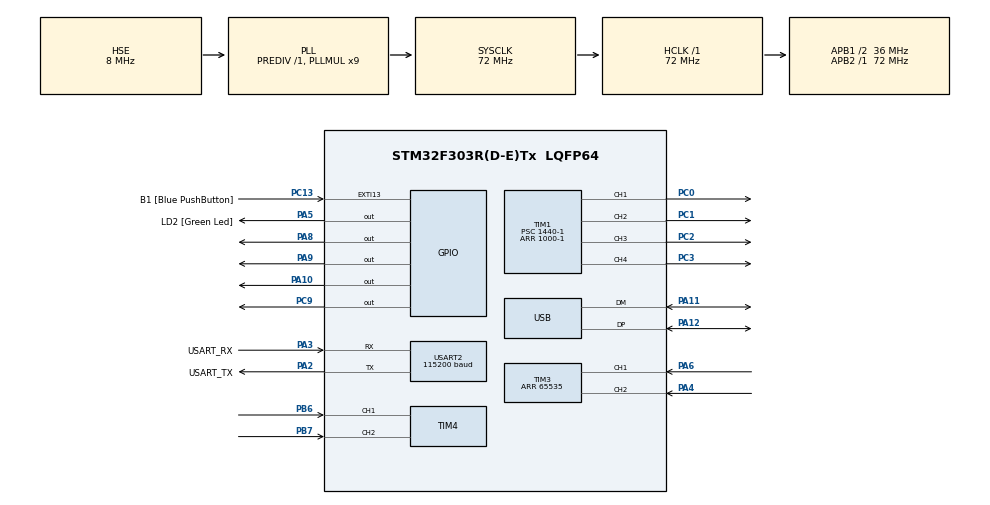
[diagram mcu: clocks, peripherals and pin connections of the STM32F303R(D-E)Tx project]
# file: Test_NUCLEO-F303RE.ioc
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FREERTOS.Events01=debugEvent,Dynamic,NULL;usbEvent,Dynamic,NULL
FREERTOS.HEAP_NUMBER=4
FREERTOS.Queues01=GoalPositionQueue,16,poseStruct,0,Dynamic,NULL,NULL;GoalSpeedQueue,16,velocityStruct,0,Dynamic,NULL,NULL;OdometryQueue,16,poseStruct,0,Dynamic,NULL,NULL
FREERTOS.Tasks01=BrainComTask,32,128,StartBrainComTask,Default,NULL,Dynamic,NULL,NULL;DebugComTask,8,128,StartDebugComTask,Default,NULL,Dynamic,NULL,NULL;UsbComTask,24,128,StartUsbComTask,Default,NULL,Dynamic,NULL,NULL
FREERTOS.Timers01=EncoderTask,EncoderTaskCallback,osTimerPeriodic,Default,NULL,Dynamic,NULL;MotorTask,MotorTaskCallback,osTimerPeriodic,Default,NULL,Dynamic,NULL
FREERTOS.configGENERATE_RUN_TIME_STATS=1
FREERTOS.configRECORD_STACK_HIGH_ADDRESS=1
FREERTOS.configTOTAL_HEAP_SIZE=8192
FREERTOS.configUSE_MALLOC_FAILED_HOOK=1
FREERTOS.configUSE_NEWLIB_REENTRANT=1
FREERTOS.configUSE_STATS_FORMATTING_FUNCTIONS=1
Mcu.Family=STM32F3
Mcu.Name=STM32F303R(D-E)Tx
Mcu.Package=LQFP64
NVIC.PriorityGroup=NVIC_PRIORITYGROUP_4
NVIC.TIM6_DAC_IRQn=true\:15\:0\:true\:false\:true\:false\:false\:true\:true
NVIC.TimeBase=TIM6_DAC_IRQn
NVIC.TimeBaseIP=TIM6
NVIC.USART2_IRQn=true\:5\:0\:false\:false\:true\:true\:true\:true\:true
NVIC.USB_LP_CAN_RX0_IRQn=true\:5\:0\:false\:false\:true\:true\:false\:true\:true
PA10.Signal=GPIO_Output
PA11.Mode=Device
PA11.Signal=USB_DM
PA12.Mode=Device
PA12.Signal=USB_DP
PA13.GPIO_Label=TMS
PA13.Signal=SYS_JTMS-SWDIO
PA14.GPIO_Label=TCK
PA14.Signal=SYS_JTCK-SWCLK
PA2.GPIO_Label=USART_TX
PA2.GPIO_Mode=GPIO_MODE_AF_PP
PA2.GPIO_PuPd=GPIO_NOPULL
PA2.GPIO_Speed=GPIO_SPEED_FREQ_LOW
PA2.Mode=Asynchronous
PA2.Signal=USART2_TX
PA3.GPIO_Label=USART_RX
PA3.GPIO_Mode=GPIO_MODE_AF_PP
PA3.GPIO_PuPd=GPIO_NOPULL
PA3.GPIO_Speed=GPIO_SPEED_FREQ_LOW
PA3.Mode=Asynchronous
PA3.Signal=USART2_RX
PA4.GPIO_PuPd=GPIO_PULLUP
PA4.Signal=S_TIM3_CH2
PA5.GPIO_Label=LD2 [Green Led]
PA5.GPIO_Mode=GPIO_MODE_OUTPUT_PP
PA5.GPIO_PuPd=GPIO_NOPULL
PA5.GPIO_Speed=GPIO_SPEED_FREQ_LOW
PA5.Signal=GPIO_Output
PA6.GPIO_PuPd=GPIO_PULLUP
PA6.Signal=S_TIM3_CH1
PA8.Signal=GPIO_Output
PA9.Signal=GPIO_Output
PB3.GPIO_Label=SWO
PB3.Signal=SYS_JTDO-TRACESWO
PB6.GPIO_PuPd=GPIO_PULLUP
PB6.Signal=S_TIM4_CH1
PB7.GPIO_PuPd=GPIO_PULLUP
PB7.Signal=S_TIM4_CH2
PC0.Signal=S_TIM1_CH1
PC1.Signal=S_TIM1_CH2
PC13.GPIO_Label=B1 [Blue PushButton]
PC13.GPIO_ModeDefaultEXTI=GPIO_MODE_IT_FALLING
PC13.Signal=GPXTI13
PC14-OSC32_IN.Mode=LSE-External-Oscillator
PC14-OSC32_IN.Signal=RCC_OSC32_IN
PC15-OSC32_OUT.Mode=LSE-External-Oscillator
PC15-OSC32_OUT.Signal=RCC_OSC32_OUT
PC2.Signal=S_TIM1_CH3
PC3.Signal=S_TIM1_CH4
PC9.Signal=GPIO_Output
PF0-OSC_IN.Mode=HSE-External-Clock-Source
PF0-OSC_IN.Signal=RCC_OSC_IN
PF1-OSC_OUT.Signal=RCC_OSC_OUT
ProjectManager.HeapSize=0x400
ProjectManager.StackSize=0x600
ProjectManager.TargetToolchain=STM32CubeIDE
RCC.AHBFreq_Value=72000000
RCC.APB1CLKDivider=RCC_HCLK_DIV2
RCC.APB1Freq_Value=36000000
RCC.APB1TimFreq_Value=72000000
RCC.APB2Freq_Value=72000000
RCC.APB2TimFreq_Value=72000000
RCC.CortexFreq_Value=72000000
RCC.HCLKFreq_Value=72000000
RCC.HSE_VALUE=8000000
RCC.HSI_VALUE=8000000
RCC.PLLM=8
RCC.PLLMUL=RCC_PLL_MUL9
RCC.PLLN=336
RCC.PLLP=RCC_PLLP_DIV4
RCC.PLLQ=7
RCC.PRESCALERUSB=RCC_USBCLKSOURCE_PLL_DIV1_5
RCC.RCC_PLLsource_Clock_Source_FROM_HSE=RCC_HSE_PREDIV_DIV2
RCC.SYSCLKFreq_VALUE=72000000
RCC.SYSCLKSourceVirtual=RCC_SYSCLKSOURCE_PLLCLK
RCC.USBFreq_Value=48000000
RCC.Usart1ClockSelection=RCC_USART1CLKSOURCE_HSI
RCC.Usart2ClockSelection=RCC_USART2CLKSOURCE_HSI
SH.S_TIM1_CH1.0=TIM1_CH1,PWM Generation1 CH1
SH.S_TIM1_CH2.0=TIM1_CH2,PWM Generation2 CH2
SH.S_TIM1_CH3.0=TIM1_CH3,PWM Generation3 CH3
SH.S_TIM1_CH4.0=TIM1_CH4,PWM Generation4 CH4
SH.S_TIM3_CH1.0=TIM3_CH1,Encoder_Interface
SH.S_TIM3_CH2.0=TIM3_CH2,Encoder_Interface
SH.S_TIM4_CH1.0=TIM4_CH1,Encoder_Interface
SH.S_TIM4_CH2.0=TIM4_CH2,Encoder_Interface
TIM1.Channel-PWM\ Generation1\ CH1=TIM_CHANNEL_1
TIM1.Channel-PWM\ Generation2\ CH2=TIM_CHANNEL_2
TIM1.Channel-PWM\ Generation3\ CH3=TIM_CHANNEL_3
TIM1.Channel-PWM\ Generation4\ CH4=TIM_CHANNEL_4
TIM1.OCMode_PWM-PWM\ Generation3\ CH3=TIM_OCMODE_PWM1
TIM1.Period=1000-1
TIM1.Prescaler=1440-1
TIM3.EncoderMode=TIM_ENCODERMODE_TI12
TIM3.IC1Filter=5
TIM3.IC2Filter=5
TIM3.Period=65535
TIM4.EncoderMode=TIM_ENCODERMODE_TI12
TIM4.IC1Filter=5
TIM4.IC2Filter=5
USART2.BaudRate=115200
USART2.VirtualMode-Asynchronous=VM_ASYNC
USB_DEVICE.CLASS_NAME_FS=CDC
USB_DEVICE.VirtualMode=Cdc
USB_DEVICE.VirtualModeFS=Cdc_FS
VP_FREERTOS_VS_CMSIS_V2.Mode=CMSIS_V2
VP_SYS_VS_tim6.Mode=TIM6
VP_TIM1_VS_ClockSourceINT.Mode=Internal
VP_USB_DEVICE_VS_USB_DEVICE_CDC_FS.Mode=CDC_FS
board=NUCLEO-F303RE

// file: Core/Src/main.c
/* USER CODE BEGIN Header */
/**
 ******************************************************************************
 * @file           : main.c
 * @brief          : Main program body
 ******************************************************************************
 * @attention
 *
 * Copyright (c) 2025 STMicroelectronics.
 * All rights reserved.
 *
 * This software is licensed under terms that can be found in the LICENSE file
 * in the root directory of this software component.
 * If no LICENSE file comes with this software, it is provided AS-IS.
 *
 ******************************************************************************
 */
/* USER CODE END Header */
#include "main.h"
#include "cmsis_os.h"
#include "usb_device.h"

TIM_HandleTypeDef htim1;
TIM_HandleTypeDef htim3;
TIM_HandleTypeDef htim4;

UART_HandleTypeDef huart2;

/* Definitions for BrainComTask */
osThreadId_t BrainComTaskHandle;
const osThreadAttr_t BrainComTask_attributes = { .name = "BrainComTask", .stack_size = 128 * 4,
	.priority = (osPriority_t) osPriorityAboveNormal, };
/* Definitions for DebugComTask */
osThreadId_t DebugComTaskHandle;
const osThreadAttr_t DebugComTask_attributes = { .name = "DebugComTask", .stack_size = 128 * 4,
	.priority = (osPriority_t) osPriorityLow, };
/* Definitions for UsbComTask */
osThreadId_t UsbComTaskHandle;
const osThreadAttr_t UsbComTask_attributes = { .name = "UsbComTask", .stack_size = 128 * 4,
	.priority = (osPriority_t) osPriorityNormal, };
/* Definitions for GoalPositionQueue */
osMessageQueueId_t GoalPositionQueueHandle;
const osMessageQueueAttr_t GoalPositionQueue_attributes = { .name = "GoalPositionQueue" };
/* Definitions for GoalSpeedQueue */
osMessageQueueId_t GoalSpeedQueueHandle;
const osMessageQueueAttr_t GoalSpeedQueue_attributes = { .name = "GoalSpeedQueue" };
/* Definitions for OdometryQueue */
osMessageQueueId_t OdometryQueueHandle;
const osMessageQueueAttr_t OdometryQueue_attributes = { .name = "OdometryQueue" };
/* Definitions for EncoderTask */
osTimerId_t EncoderTaskHandle;
const osTimerAttr_t EncoderTask_attributes = { .name = "EncoderTask" };
/* Definitions for MotorTask */
osTimerId_t MotorTaskHandle;
const osTimerAttr_t MotorTask_attributes = { .name = "MotorTask" };
/* Definitions for debugEvent */
osEventFlagsId_t debugEventHandle;
const osEventFlagsAttr_t debugEvent_attributes = { .name = "debugEvent" };
/* Definitions for usbEvent */
osEventFlagsId_t usbEventHandle;
const osEventFlagsAttr_t usbEvent_attributes = { .name = "usbEvent" };

void SystemClock_Config(void);
static void MX_GPIO_Init(void);
static void MX_TIM1_Init(void);
static void MX_TIM3_Init(void);
static void MX_TIM4_Init(void);
static void MX_USART2_UART_Init(void);
void StartBrainComTask(void *argument);
void StartDebugComTask(void *argument);
void StartUsbComTask(void *argument);
void EncoderTaskCallback(void *argument);
void MotorTaskCallback(void *argument);

/* USER CODE BEGIN 0 */
//#include "zenoh-pico.h"
//#define MODE "client"
//#define PEER "serial/110.105#baudrate=115200"
//#define KEYEXPR "demo/example/zenoh-pico-pub"
//#define VALUE "[MBedOS]{nucleo-F767ZI} Pub from Zenoh-Pico via Serial!"
/* USER CODE END 0 */

int main(void) {

	/* MCU Configuration--------------------------------------------------------*/

	/* Reset of all peripherals, Initializes the Flash interface and the Systick. */
	HAL_Init();

	/* USER CODE BEGIN Init */

	///////////////////////////////////////////////////////
	//Simulate USB disconnection to avoid unplug replug cable
	GPIO_InitTypeDef GPIO_InitStruct = { 0 };

	// 1. Forcer PA12 (D+) en GPIO Output
	__HAL_RCC_GPIOA_CLK_ENABLE();
	GPIO_InitStruct.Pin = GPIO_PIN_12;
	GPIO_InitStruct.Mode = GPIO_MODE_OUTPUT_PP;
	GPIO_InitStruct.Pull = GPIO_NOPULL;
	GPIO_InitStruct.Speed = GPIO_SPEED_FREQ_LOW;
	HAL_GPIO_Init(GPIOA, &GPIO_InitStruct);

	// 2. Mettre D+ à 0
	HAL_GPIO_WritePin(GPIOA, GPIO_PIN_12, GPIO_PIN_RESET);
	HAL_Delay(10); // attendre que l'hôte détecte la déconnexion

	// 3. Réinitialiser USB
	HAL_GPIO_DeInit(GPIOA, GPIO_PIN_12); // libère PA12 pour USB
	///////////////////////////////////////////////////////

	/* USER CODE END Init */

	/* Configure the system clock */
	SystemClock_Config();

	/* Initialize all configured peripherals */
	MX_GPIO_Init();
	MX_TIM1_Init();
	MX_TIM3_Init();
	MX_TIM4_Init();
	MX_USART2_UART_Init();
	/* USER CODE BEGIN 2 */

//  z_owned_config_t config = zp_config_default();
//  	zp_config_insert(z_config_loan(&config), Z_CONFIG_MODE_KEY, z_string_make(MODE));
//  	zp_config_insert(z_config_loan(&config), Z_CONFIG_PEER_KEY, z_string_make(PEER));
	/* USER CODE END 2 */

	/* Init scheduler */
	osKernelInitialize();

	/* Create the timer(s) */
	/* creation of EncoderTask */
	EncoderTaskHandle = osTimerNew(EncoderTaskCallback, osTimerPeriodic, NULL,
		&EncoderTask_attributes);

	/* creation of MotorTask */
	MotorTaskHandle = osTimerNew(MotorTaskCallback, osTimerPeriodic, NULL, &MotorTask_attributes);

	/* Create the queue(s) */
	/* creation of GoalPositionQueue */
	GoalPositionQueueHandle = osMessageQueueNew(16, sizeof(poseStruct),
		&GoalPositionQueue_attributes);

	/* creation of GoalSpeedQueue */
	GoalSpeedQueueHandle = osMessageQueueNew(16, sizeof(velocityStruct),
		&GoalSpeedQueue_attributes);

	/* creation of OdometryQueue */
	OdometryQueueHandle = osMessageQueueNew(16, sizeof(poseStruct), &OdometryQueue_attributes);

	/* Create the thread(s) */
	/* creation of BrainComTask */
	BrainComTaskHandle = osThreadNew(StartBrainComTask, NULL, &BrainComTask_attributes);

	/* creation of DebugComTask */
	DebugComTaskHandle = osThreadNew(StartDebugComTask, NULL, &DebugComTask_attributes);

	/* creation of UsbComTask */
	UsbComTaskHandle = osThreadNew(StartUsbComTask, NULL, &UsbComTask_attributes);

	/* Create the event(s) */
	/* creation of debugEvent */
	debugEventHandle = osEventFlagsNew(&debugEvent_attributes);

	/* creation of usbEvent */
	usbEventHandle = osEventFlagsNew(&usbEvent_attributes);

	/* Start scheduler */
	osKernelStart();

	/* We should never get here as control is now taken by the scheduler */

	/* Infinite loop */
	while (1) {

	}
}

void SystemClock_Config(void) {
	RCC_OscInitTypeDef RCC_OscInitStruct = { 0 };
	RCC_ClkInitTypeDef RCC_ClkInitStruct = { 0 };
	RCC_PeriphCLKInitTypeDef PeriphClkInit = { 0 };

	/** Initializes the RCC Oscillators according to the specified parameters
	 * in the RCC_OscInitTypeDef structure.
	 */
	RCC_OscInitStruct.OscillatorType = RCC_OSCILLATORTYPE_HSI | RCC_OSCILLATORTYPE_HSE;
	RCC_OscInitStruct.HSEState = RCC_HSE_BYPASS;
	RCC_OscInitStruct.HSIState = RCC_HSI_ON;
	RCC_OscInitStruct.HSICalibrationValue = RCC_HSICALIBRATION_DEFAULT;
	RCC_OscInitStruct.PLL.PLLState = RCC_PLL_ON;
	RCC_OscInitStruct.PLL.PLLSource = RCC_PLLSOURCE_HSE;
	RCC_OscInitStruct.PLL.PLLMUL = RCC_PLL_MUL9;
	RCC_OscInitStruct.PLL.PREDIV = RCC_PREDIV_DIV1;
	if (HAL_RCC_OscConfig(&RCC_OscInitStruct) != HAL_OK) {
		Error_Handler();
	}

	/** Initializes the CPU, AHB and APB buses clocks
	 */
	RCC_ClkInitStruct.ClockType = RCC_CLOCKTYPE_HCLK | RCC_CLOCKTYPE_SYSCLK | RCC_CLOCKTYPE_PCLK1
		| RCC_CLOCKTYPE_PCLK2;
	RCC_ClkInitStruct.SYSCLKSource = RCC_SYSCLKSOURCE_PLLCLK;
	RCC_ClkInitStruct.AHBCLKDivider = RCC_SYSCLK_DIV1;
	RCC_ClkInitStruct.APB1CLKDivider = RCC_HCLK_DIV2;
	RCC_ClkInitStruct.APB2CLKDivider = RCC_HCLK_DIV1;

	if (HAL_RCC_ClockConfig(&RCC_ClkInitStruct, FLASH_LATENCY_2) != HAL_OK) {
		Error_Handler();
	}
	PeriphClkInit.PeriphClockSelection = RCC_PERIPHCLK_USB | RCC_PERIPHCLK_USART2
		| RCC_PERIPHCLK_TIM1 | RCC_PERIPHCLK_TIM34;
	PeriphClkInit.Usart2ClockSelection = RCC_USART2CLKSOURCE_HSI;
	PeriphClkInit.USBClockSelection = RCC_USBCLKSOURCE_PLL_DIV1_5;
	PeriphClkInit.Tim1ClockSelection = RCC_TIM1CLK_HCLK;
	PeriphClkInit.Tim34ClockSelection = RCC_TIM34CLK_HCLK;
	if (HAL_RCCEx_PeriphCLKConfig(&PeriphClkInit) != HAL_OK) {
		Error_Handler();
	}
}

static void MX_TIM1_Init(void) {

	TIM_ClockConfigTypeDef sClockSourceConfig = { 0 };
	TIM_MasterConfigTypeDef sMasterConfig = { 0 };
	TIM_OC_InitTypeDef sConfigOC = { 0 };
	TIM_BreakDeadTimeConfigTypeDef sBreakDeadTimeConfig = { 0 };

	htim1.Instance = TIM1;
	htim1.Init.Prescaler = 1440 - 1;
	htim1.Init.CounterMode = TIM_COUNTERMODE_UP;
	htim1.Init.Period = 1000 - 1;
	htim1.Init.ClockDivision = TIM_CLOCKDIVISION_DIV1;
	htim1.Init.RepetitionCounter = 0;
	htim1.Init.AutoReloadPreload = TIM_AUTORELOAD_PRELOAD_DISABLE;
	if (HAL_TIM_Base_Init(&htim1) != HAL_OK) {
		Error_Handler();
	}
	sClockSourceConfig.ClockSource = TIM_CLOCKSOURCE_INTERNAL;
	if (HAL_TIM_ConfigClockSource(&htim1, &sClockSourceConfig) != HAL_OK) {
		Error_Handler();
	}
	if (HAL_TIM_PWM_Init(&htim1) != HAL_OK) {
		Error_Handler();
	}
	sMasterConfig.MasterOutputTrigger = TIM_TRGO_RESET;
	sMasterConfig.MasterOutputTrigger2 = TIM_TRGO2_RESET;
	sMasterConfig.MasterSlaveMode = TIM_MASTERSLAVEMODE_DISABLE;
	if (HAL_TIMEx_MasterConfigSynchronization(&htim1, &sMasterConfig) != HAL_OK) {
		Error_Handler();
	}
	sConfigOC.OCMode = TIM_OCMODE_PWM1;
	sConfigOC.Pulse = 0;
	sConfigOC.OCPolarity = TIM_OCPOLARITY_HIGH;
	sConfigOC.OCNPolarity = TIM_OCNPOLARITY_HIGH;
	sConfigOC.OCFastMode = TIM_OCFAST_DISABLE;
	sConfigOC.OCIdleState = TIM_OCIDLESTATE_RESET;
	sConfigOC.OCNIdleState = TIM_OCNIDLESTATE_RESET;
	if (HAL_TIM_PWM_ConfigChannel(&htim1, &sConfigOC, TIM_CHANNEL_1) != HAL_OK) {
		Error_Handler();
	}
	if (HAL_TIM_PWM_ConfigChannel(&htim1, &sConfigOC, TIM_CHANNEL_2) != HAL_OK) {
		Error_Handler();
	}
	if (HAL_TIM_PWM_ConfigChannel(&htim1, &sConfigOC, TIM_CHANNEL_3) != HAL_OK) {
		Error_Handler();
	}
	if (HAL_TIM_PWM_ConfigChannel(&htim1, &sConfigOC, TIM_CHANNEL_4) != HAL_OK) {
		Error_Handler();
	}
	sBreakDeadTimeConfig.OffStateRunMode = TIM_OSSR_DISABLE;
	sBreakDeadTimeConfig.OffStateIDLEMode = TIM_OSSI_DISABLE;
	sBreakDeadTimeConfig.LockLevel = TIM_LOCKLEVEL_OFF;
	sBreakDeadTimeConfig.DeadTime = 0;
	sBreakDeadTimeConfig.BreakState = TIM_BREAK_DISABLE;
	sBreakDeadTimeConfig.BreakPolarity = TIM_BREAKPOLARITY_HIGH;
	sBreakDeadTimeConfig.BreakFilter = 0;
	sBreakDeadTimeConfig.Break2State = TIM_BREAK2_DISABLE;
	sBreakDeadTimeConfig.Break2Polarity = TIM_BREAK2POLARITY_HIGH;
	sBreakDeadTimeConfig.Break2Filter = 0;
	sBreakDeadTimeConfig.AutomaticOutput = TIM_AUTOMATICOUTPUT_DISABLE;
	if (HAL_TIMEx_ConfigBreakDeadTime(&htim1, &sBreakDeadTimeConfig) != HAL_OK) {
		Error_Handler();
	}
	HAL_TIM_MspPostInit(&htim1);

}

static void MX_TIM3_Init(void) {

	TIM_Encoder_InitTypeDef sConfig = { 0 };
	TIM_MasterConfigTypeDef sMasterConfig = { 0 };

	htim3.Instance = TIM3;
	htim3.Init.Prescaler = 0;
	htim3.Init.CounterMode = TIM_COUNTERMODE_UP;
	htim3.Init.Period = 65535;
	htim3.Init.ClockDivision = TIM_CLOCKDIVISION_DIV1;
	htim3.Init.AutoReloadPreload = TIM_AUTORELOAD_PRELOAD_DISABLE;
	sConfig.EncoderMode = TIM_ENCODERMODE_TI12;
	sConfig.IC1Polarity = TIM_ICPOLARITY_RISING;
	sConfig.IC1Selection = TIM_ICSELECTION_DIRECTTI;
	sConfig.IC1Prescaler = TIM_ICPSC_DIV1;
	sConfig.IC1Filter = 5;
	sConfig.IC2Polarity = TIM_ICPOLARITY_RISING;
	sConfig.IC2Selection = TIM_ICSELECTION_DIRECTTI;
	sConfig.IC2Prescaler = TIM_ICPSC_DIV1;
	sConfig.IC2Filter = 5;
	if (HAL_TIM_Encoder_Init(&htim3, &sConfig) != HAL_OK) {
		Error_Handler();
	}
	sMasterConfig.MasterOutputTrigger = TIM_TRGO_RESET;
	sMasterConfig.MasterSlaveMode = TIM_MASTERSLAVEMODE_DISABLE;
	if (HAL_TIMEx_MasterConfigSynchronization(&htim3, &sMasterConfig) != HAL_OK) {
		Error_Handler();
	}

}

static void MX_TIM4_Init(void) {

	TIM_Encoder_InitTypeDef sConfig = { 0 };
	TIM_MasterConfigTypeDef sMasterConfig = { 0 };

	htim4.Instance = TIM4;
	htim4.Init.Prescaler = 0;
	htim4.Init.CounterMode = TIM_COUNTERMODE_UP;
	htim4.Init.Period = 65535;
	htim4.Init.ClockDivision = TIM_CLOCKDIVISION_DIV1;
	htim4.Init.AutoReloadPreload = TIM_AUTORELOAD_PRELOAD_DISABLE;
	sConfig.EncoderMode = TIM_ENCODERMODE_TI12;
	sConfig.IC1Polarity = TIM_ICPOLARITY_RISING;
	sConfig.IC1Selection = TIM_ICSELECTION_DIRECTTI;
	sConfig.IC1Prescaler = TIM_ICPSC_DIV1;
	sConfig.IC1Filter = 5;
	sConfig.IC2Polarity = TIM_ICPOLARITY_RISING;
	sConfig.IC2Selection = TIM_ICSELECTION_DIRECTTI;
	sConfig.IC2Prescaler = TIM_ICPSC_DIV1;
	sConfig.IC2Filter = 5;
	if (HAL_TIM_Encoder_Init(&htim4, &sConfig) != HAL_OK) {
		Error_Handler();
	}
	sMasterConfig.MasterOutputTrigger = TIM_TRGO_RESET;
	sMasterConfig.MasterSlaveMode = TIM_MASTERSLAVEMODE_DISABLE;
	if (HAL_TIMEx_MasterConfigSynchronization(&htim4, &sMasterConfig) != HAL_OK) {
		Error_Handler();
	}

}

static void MX_USART2_UART_Init(void) {

	huart2.Instance = USART2;
	huart2.Init.BaudRate = 115200;
	huart2.Init.WordLength = UART_WORDLENGTH_8B;
	huart2.Init.StopBits = UART_STOPBITS_1;
	huart2.Init.Parity = UART_PARITY_NONE;
	huart2.Init.Mode = UART_MODE_TX_RX;
	huart2.Init.HwFlowCtl = UART_HWCONTROL_NONE;
	huart2.Init.OverSampling = UART_OVERSAMPLING_16;
	huart2.Init.OneBitSampling = UART_ONE_BIT_SAMPLE_DISABLE;
	huart2.AdvancedInit.AdvFeatureInit = UART_ADVFEATURE_NO_INIT;
	if (HAL_UART_Init(&huart2) != HAL_OK) {
		Error_Handler();
	}

}

static void MX_GPIO_Init(void) {
	GPIO_InitTypeDef GPIO_InitStruct = { 0 };

	/* GPIO Ports Clock Enable */
	__HAL_RCC_GPIOC_CLK_ENABLE();
	__HAL_RCC_GPIOF_CLK_ENABLE();
	__HAL_RCC_GPIOA_CLK_ENABLE();
	__HAL_RCC_GPIOB_CLK_ENABLE();

	/*Configure GPIO pin Output Level */
	HAL_GPIO_WritePin(GPIOA, LD2_Pin | GPIO_PIN_8 | GPIO_PIN_9 | GPIO_PIN_10, GPIO_PIN_RESET);

	/*Configure GPIO pin Output Level */
	HAL_GPIO_WritePin(GPIOC, GPIO_PIN_9, GPIO_PIN_RESET);

	/*Configure GPIO pin : B1_Pin */
	GPIO_InitStruct.Pin = B1_Pin;
	GPIO_InitStruct.Mode = GPIO_MODE_IT_FALLING;
	GPIO_InitStruct.Pull = GPIO_NOPULL;
	HAL_GPIO_Init(B1_GPIO_Port, &GPIO_InitStruct);

	/*Configure GPIO pins : LD2_Pin PA8 PA9 PA10 */
	GPIO_InitStruct.Pin = LD2_Pin | GPIO_PIN_8 | GPIO_PIN_9 | GPIO_PIN_10;
	GPIO_InitStruct.Mode = GPIO_MODE_OUTPUT_PP;
	GPIO_InitStruct.Pull = GPIO_NOPULL;
	GPIO_InitStruct.Speed = GPIO_SPEED_FREQ_LOW;
	HAL_GPIO_Init(GPIOA, &GPIO_InitStruct);

	/*Configure GPIO pin : PC9 */
	GPIO_InitStruct.Pin = GPIO_PIN_9;
	GPIO_InitStruct.Mode = GPIO_MODE_OUTPUT_PP;
	GPIO_InitStruct.Pull = GPIO_NOPULL;
	GPIO_InitStruct.Speed = GPIO_SPEED_FREQ_LOW;
	HAL_GPIO_Init(GPIOC, &GPIO_InitStruct);

}

void StartBrainComTask(void *argument) {
	/* init code for USB_DEVICE */
	MX_USB_DEVICE_Init();
	/* USER CODE BEGIN 5 */
	setup();

	StartBrainComTaskCpp(argument);
	/* USER CODE END 5 */
}

void StartDebugComTask(void *argument) {
	/* USER CODE BEGIN StartDebugComTask */
	StartDebugComTaskCpp(argument);
	/* USER CODE END StartDebugComTask */
}

void StartUsbComTask(void *argument) {
	/* USER CODE BEGIN StartUsbComTask */
	StartUsbComTaskCpp(argument);
	/* USER CODE END StartUsbComTask */
}

/* EncoderTaskCallback function */
void EncoderTaskCallback(void *argument) {
	/* USER CODE BEGIN EncoderTaskCallback */
	EncoderTaskCallbackCpp(argument);
	/* USER CODE END EncoderTaskCallback */
}

/* MotorTaskCallback function */
void MotorTaskCallback(void *argument) {
	/* USER CODE BEGIN MotorTaskCallback */
	MotorTaskCallbackCpp(argument);
	/* USER CODE END MotorTaskCallback */
}

void HAL_TIM_PeriodElapsedCallback(TIM_HandleTypeDef *htim) {
	if (htim->Instance == TIM6) {
		HAL_IncTick();
	}
}

void Error_Handler(void) {
	__disable_irq();
	while (1) {
	}
}

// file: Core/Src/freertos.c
/* USER CODE BEGIN Header */
/**
 ******************************************************************************
 * File Name          : freertos.c
 * Description        : Code for freertos applications
 ******************************************************************************
 * @attention
 *
 * Copyright (c) 2025 STMicroelectronics.
 * All rights reserved.
 *
 * This software is licensed under terms that can be found in the LICENSE file
 * in the root directory of this software component.
 * If no LICENSE file comes with this software, it is provided AS-IS.
 *
 ******************************************************************************
 */
/* USER CODE END Header */

#include "FreeRTOS.h"
#include "task.h"
#include "main.h"

/* USER CODE BEGIN Variables */
//volatile uint32_t ulStatTimerTicks;
//extern TIM_HandleTypeDef htim7;

/* USER CODE END Variables */

/* Hook prototypes */
void configureTimerForRunTimeStats(void);
unsigned long getRunTimeCounterValue(void);
void vApplicationMallocFailedHook(void);

/* USER CODE BEGIN 1 */
/* Functions needed when configGENERATE_RUN_TIME_STATS is on */
__weak void configureTimerForRunTimeStats(void) {
	CoreDebug->DEMCR |= CoreDebug_DEMCR_TRCENA_Msk;
	DWT->CTRL |= 1;
	DWT->CYCCNT = 0;

//	ulStatTimerTicks = 0;
//	HAL_TIM_Base_Start_IT(&htim7);
}

__weak unsigned long getRunTimeCounterValue(void) {
	return DWT->CYCCNT;
//	return ulStatTimerTicks;
}
/* USER CODE END 1 */

/* USER CODE BEGIN 5 */
extern UART_HandleTypeDef huart2;
void vApplicationMallocFailedHook(void) {
	/* vApplicationMallocFailedHook() will only be called if
	 configUSE_MALLOC_FAILED_HOOK is set to 1 in FreeRTOSConfig.h. It is a hook
	 function that will get called if a call to pvPortMalloc() fails.
	 pvPortMalloc() is called internally by the kernel whenever a task, queue,
	 timer or semaphore is created. It is also called by various parts of the
	 demo application. If heap_1.c or heap_2.c are used, then the size of the
	 heap available to pvPortMalloc() is defined by configTOTAL_HEAP_SIZE in
	 FreeRTOSConfig.h, and the xPortGetFreeHeapSize() API function can be used
	 to query the size of free heap space that remains (although it does not
	 provide information on how the remaining heap might be fragmented). */

	uint8_t tmp[] = "Malloc failed hook. Please increase TOTAL_HEAP_SIZE in Freertos\n";
	HAL_UART_Transmit(&huart2, tmp, sizeof(tmp), 10);
	while (1)
		;
}
/* USER CODE END 5 */
